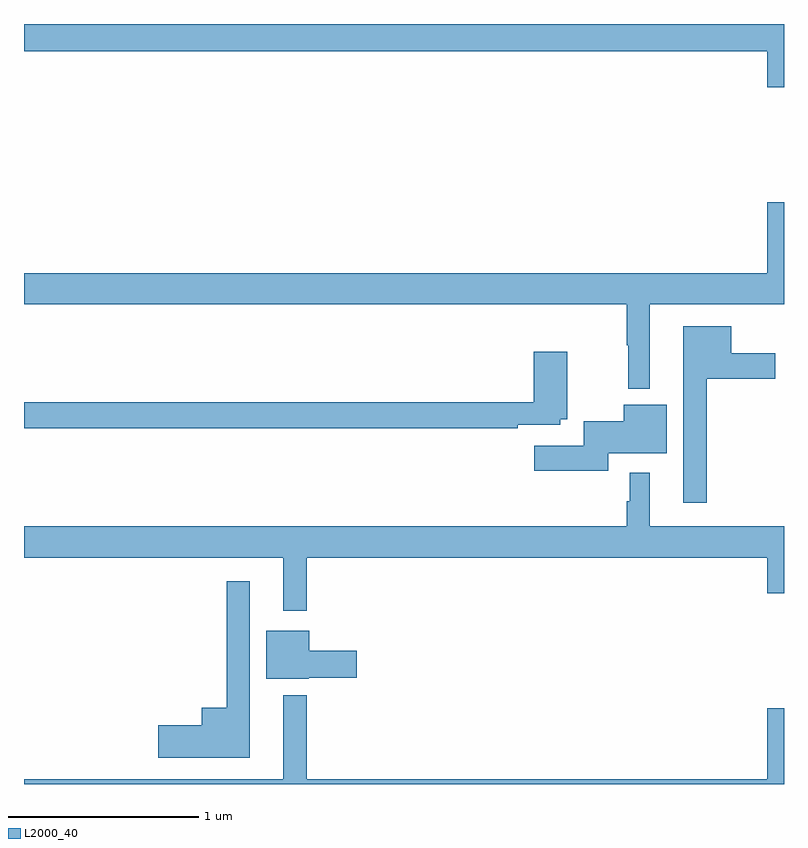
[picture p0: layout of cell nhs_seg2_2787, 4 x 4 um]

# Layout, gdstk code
import gdstk
lib = gdstk.Library(unit=1e-6, precision=1e-09)
def P(c, l, *ps):  # polygons
    for p in ps: c.add(gdstk.Polygon(p, *l))
L2000_40 = (2000, 40)

nhs_seg2_2787 = lib.new_cell('nhs_seg2_2787')
P(nhs_seg2_2787, L2000_40, [(261,627.8),(257,627.8),(257,627.656),(260.912,627.656),(260.912,627.468),(261,627.468)],
  [(260.293,626.324),(261,626.324),(261,626.863),(260.912,626.863),(260.912,626.488),(257,626.488),(257,626.324),(260.172,626.324),(260.172,626.108),(260.179,626.108),(260.179,625.88),(260.293,625.88)],
  [(260.593,625.934),(260.953,625.934),(260.953,626.068),(260.722,626.068),(260.722,626.209),(260.471,626.209),(260.471,625.281),(260.593,625.281)],
  [(259.598,625.692),(259.822,625.692),(259.822,625.721),(259.86,625.721),(259.86,626.074),(259.682,626.074),(259.682,625.808),(257,625.808),(257,625.672),(259.598,625.672)],
  [(260.074,625.541),(260.383,625.541),(260.383,625.795),(260.156,625.795),(260.156,625.708),(259.946,625.708),(259.946,625.579),(259.686,625.579),(259.686,625.45),(260.074,625.45)],
  [(258.487,624.992),(260.912,624.992),(260.912,624.804),(261,624.804),(261,625.156),(260.293,625.156),(260.293,625.438),(260.189,625.438),(260.189,625.289),(260.172,625.289),(260.172,625.156),(257,625.156),(257,624.992),(258.365,624.992),(258.365,624.711),(258.487,624.711)],
  [(258.187,624.868),(258.066,624.868),(258.066,624.202),(257.936,624.202),(257.936,624.11),(257.706,624.11),(257.706,623.939),(258.187,623.939)],
  [(258.498,624.359),(258.751,624.359),(258.751,624.501),(258.502,624.501),(258.502,624.607),(258.275,624.607),(258.275,624.353),(258.498,624.353)],
  [(261,624.199),(260.912,624.199),(260.912,623.824),(258.487,623.824),(258.487,624.268),(258.365,624.268),(258.365,623.824),(257,623.824),(257,623.8),(261,623.8)])

lib.write_gds('nhs_seg2_2787.gds')
